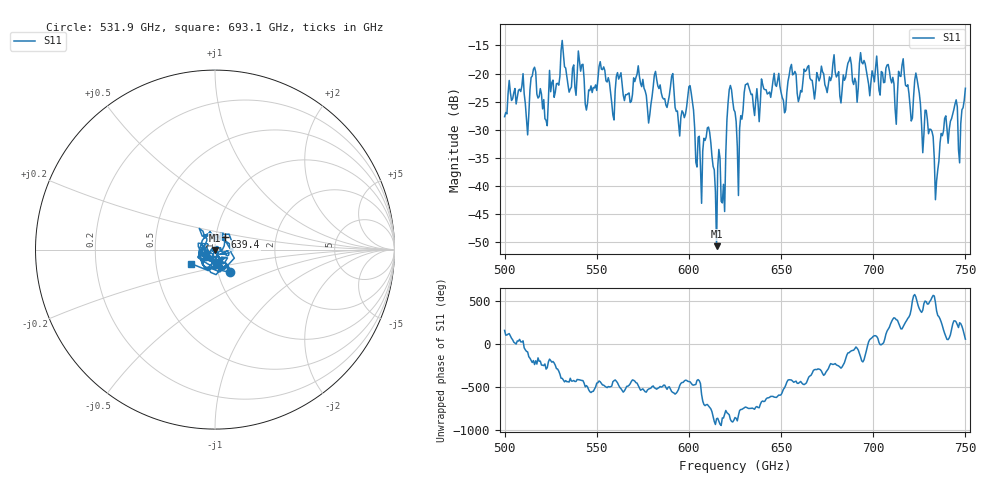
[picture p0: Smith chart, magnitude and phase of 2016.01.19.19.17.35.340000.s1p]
!Created with skrf (http://scikit-rf.org).
# GHz S RI R 50.0
!freq ReS11 ImS11
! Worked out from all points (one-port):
!   401 points, 500 GHz to 750 GHz, reference 50 ohm
!   lowest |S11| = -50.7 dB at 615 GHz (marker M1), VSWR 1.01, Z = 49.8 - j0.164 ohm
!   |S11| at or under -10 dB: start of sweep to end of sweep
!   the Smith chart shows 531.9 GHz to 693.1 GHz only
!   S11 on the Smith chart (normalised r, x): 531.9 GHz: 1.14, -0.30; 639.4 GHz: 1.11, +0.15; 693.1 GHz: 0.76, -0.12
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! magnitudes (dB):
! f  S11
! 500 GHz  -27.7
! 512.5 GHz  -30.9
! 515.6 GHz  -19.3
! 521.9 GHz  -28.0
! 531.2 GHz  -14.1
! 531.9 GHz  -16.4
! 545 GHz  -25.3
! 562.5 GHz  -20.5
! 578.8 GHz  -27.4
! 590.6 GHz  -20.5
! 593.8 GHz  -26.6
! 600.6 GHz  -22.2
! 605.6 GHz  -31.1
! 610.6 GHz  -29.5
! 615 GHz  -50.7
! 618.8 GHz  -39.7
! 621.9 GHz  -22.9
! 625 GHz  -26.8
! 639.4 GHz  -21.0
! 656.2 GHz  -20.2
! 687.5 GHz  -17.1
! 693.1 GHz  -16.3
! 718.8 GHz  -22.0
! 723.8 GHz  -21.0
! 734.4 GHz  -39.1
! 738.1 GHz  -30.2
! 747.5 GHz  -28.8
! 750 GHz  -22.6
